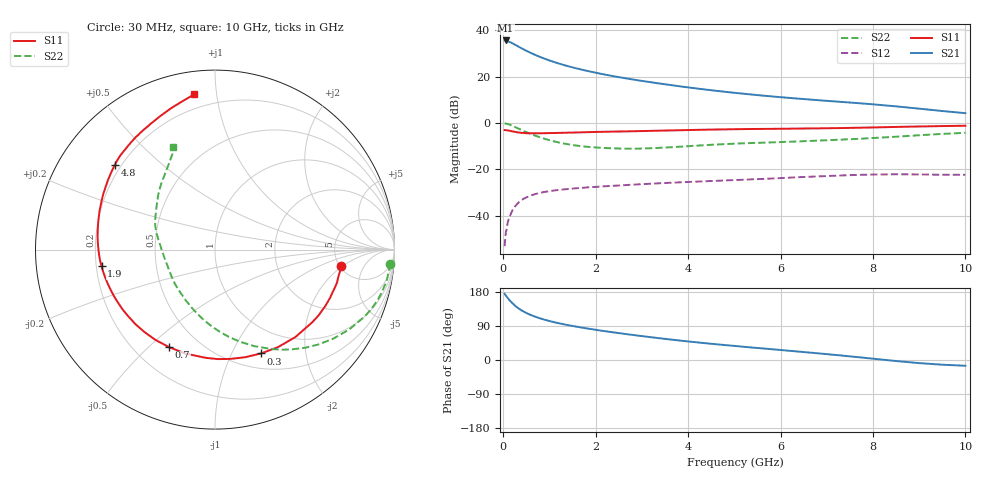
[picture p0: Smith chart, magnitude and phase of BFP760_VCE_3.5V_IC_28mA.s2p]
! Infineon Technologies  Discrete & RF Semiconductors
! BFP760
! VCE =  3.5 V,  IC =  28 mA
! Common Emitter S-Parameters:  Nov 2012
# GHz  S  MA  R  50
!  f  S11  S21  S12  S22
! GHz  MAG  ANG  MAG  ANG  MAG  ANG  MAG  ANG
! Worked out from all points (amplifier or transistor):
!   99 points, 30 MHz to 10 GHz, reference 50 ohm
!   highest |S21| = 35.7 dB at 50 MHz (marker M1)
!   |S21| within 3 dB of that: start of sweep to 360.6 MHz
!   unconditionally stable (mu >= 1): 4.298 GHz to end of sweep
!   at 350 MHz: K = 0.27, MSG = 33.4 dB, |S12| = -34.0 dB
!   at 3.5 GHz: K = 0.92, MSG = 21.3 dB, |S12| = -25.9 dB
!   at 10 GHz: K = 1.07, MAG = 11.7 dB, |S12| = -22.3 dB
!   S11 on the Smith chart (normalised r, x): 30 MHz: 5.09, -1.90; 300 MHz: 0.68, -1.30; 700 MHz: 0.34, -0.58; 1.9 GHz: 0.22, -0.07; 4.8 GHz: 0.18, +0.36; 10 GHz: 0.12, +0.87
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0.03  0.7068 -7.6  60.68 174.7  0.0022 80.6  0.9773 -4.6
0.05  0.7035 -12.6  60.72 171.0  0.0038 77.1  0.9745 -7.9
0.1  0.6922 -25.0  58.53 163.2  0.0074 77.0  0.9522 -16.3
0.15  0.6766 -36.7  55.78 156.0  0.0101 72.1  0.9144 -23.9
0.2  0.6619 -47.4  52.65 149.7  0.0132 66.9  0.8707 -30.7
0.25  0.6469 -57.1  49.55 144.0  0.0156 64.6  0.8254 -36.9
0.3  0.6329 -66.1  46.48 139.0  0.0178 61.4  0.7832 -42.4
0.4  0.615 -82.0  40.98 130.7  0.0218 55.6  0.703 -52.2
0.5  0.6052 -94.9  36.34 124.1  0.0248 51.6  0.6356 -60.6
0.7  0.6007 -115.3  29.36 113.9  0.0295 44.6  0.5315 -74.9
0.9  0.6044 -130.5  24.42 106.1  0.0327 40.2  0.4559 -87.1
1.1  0.6096 -142.3  20.78 99.8  0.035 37.1  0.4018 -97.9
1.4  0.6201 -155.5  16.91 92.1  0.0377 34.1  0.349 -111.8
1.7  0.6313 -165.9  14.22 85.5  0.0399 32.5  0.3154 -124.1
1.9  0.6389 -171.7  12.84 81.6  0.0414 31.6  0.3021 -131.9
2.6  0.66 172.0  9.432 69.3  0.0455 29.9  0.2806 -155.1
3.4  0.6858 157.6  7.1 57.2  0.0502 28.5  0.2924 -176.7
4.8  0.7312 139.6  4.73 39.4  0.0577 26.4  0.351 160.3
5.1  0.7389 137.0  4.398 36.1  0.0593 26.0  0.3623 157.1
6.7  0.7671 125.0  3.181 18.9  0.0699 22.5  0.4135 141.4
8.5  0.8251 107.2  2.294 -2.7  0.0783 12.4  0.5072 123.2
10  0.8753 97.5  1.636 -15.2  0.0765 7.9  0.6172 112.3
